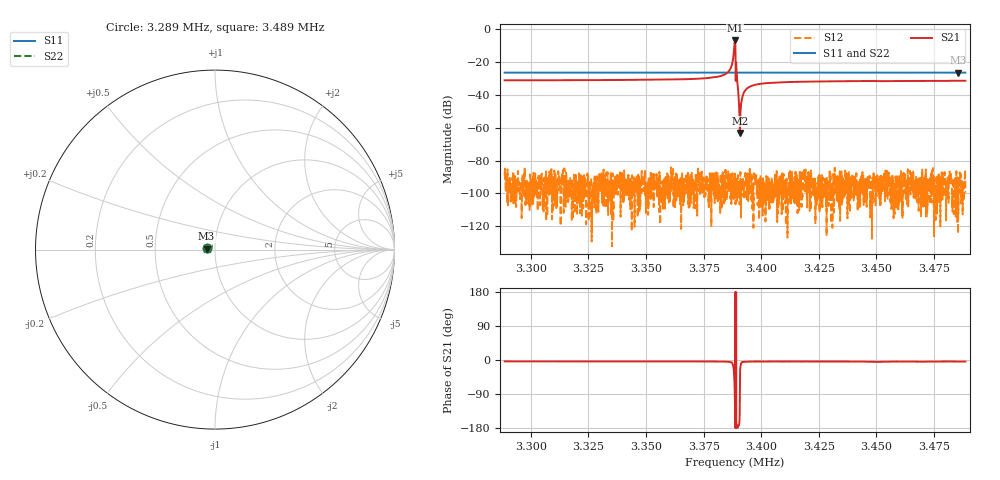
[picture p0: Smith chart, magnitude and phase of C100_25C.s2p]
# Hz S dB R 50.000
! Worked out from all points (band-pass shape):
!   6401 points, 3.289 MHz to 3.489 MHz, reference 50 ohm
!   highest |S21| = -6.87 dB at 3.389 MHz (marker M1); lowest = -63.1 dB at 3.391 MHz (marker M2)
!   |S21| within 3 dB of the highest: 3.388348 MHz to 3.388754 MHz (406.3 Hz wide, 0.012 % of centre)
!   lowest |S11| = -26.5 dB at 3.485 MHz (marker M3), VSWR 1.10, Z = 45.5 + j0.423 ohm
!   |S11| at or under -10 dB: start of sweep to end of sweep
!   |S22| runs from -26.6 to -26.5 dB; largest |S21 - S12| = 0.45
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3288594  -26.45 172.6  -31.14 -3.6  -88.77 1.1  -26.48 166.9
3321938  -26.44 172.9  -31.04 -3.8  -92.50 -25.9  -26.50 167.2
3355282  -26.45 173.2  -30.74 -3.9  -93.48 -125.1  -26.51 167.5
3382094  -26.46 173.5  -28.62 -4.4  -101.50 -24.3  -26.52 167.7
3385719  -26.45 173.5  -25.95 -4.5  -98.01 22.3  -26.52 167.8
3386875  -26.45 173.5  -23.27 -5.9  -89.65 -119.4  -26.52 167.8
3387469  -26.45 173.5  -20.30 -9.2  -88.91 72.9  -26.52 167.8
3387844  -26.45 173.5  -17.35 -15.4  -98.23 97.3  -26.52 167.8
3388594  -26.46 173.5  -6.87 -125.2  -87.89 -24.3  -26.50 167.8
3389250  -26.45 173.5  -25.56 -170.9  -91.66 -39.9  -26.52 167.8
3389906  -26.45 173.5  -36.91 -175.2  -93.18 -4.7  -26.52 167.8
3390313  -26.45 173.5  -45.04 -172.7  -95.42 9.1  -26.52 167.8
3390719  -26.45 173.5  -63.13 -73.8  -97.85 49.7  -26.52 167.8
3391375  -26.45 173.6  -44.49 -7.0  -94.33 66.7  -26.52 167.8
3392156  -26.45 173.5  -39.49 -5.2  -93.32 -91.2  -26.52 167.8
3393063  -26.45 173.6  -37.20 -4.6  -87.85 34.4  -26.52 167.8
3396375  -26.45 173.6  -34.25 -4.1  -98.96 61.7  -26.53 167.9
3403969  -26.45 173.6  -32.69 -4.0  -93.50 57.0  -26.53 168.0
3421938  -26.45 173.8  -31.89 -4.1  -94.75 57.6  -26.53 168.1
3455282  -26.46 174.1  -31.63 -4.3  -88.89 63.3  -26.55 168.5
3485313  -26.47 174.4  -31.40 -4.2  -98.75 85.2  -26.55 168.7
3488594  -26.46 174.4  -31.41 -4.2  -99.54 78.5  -26.56 168.8
